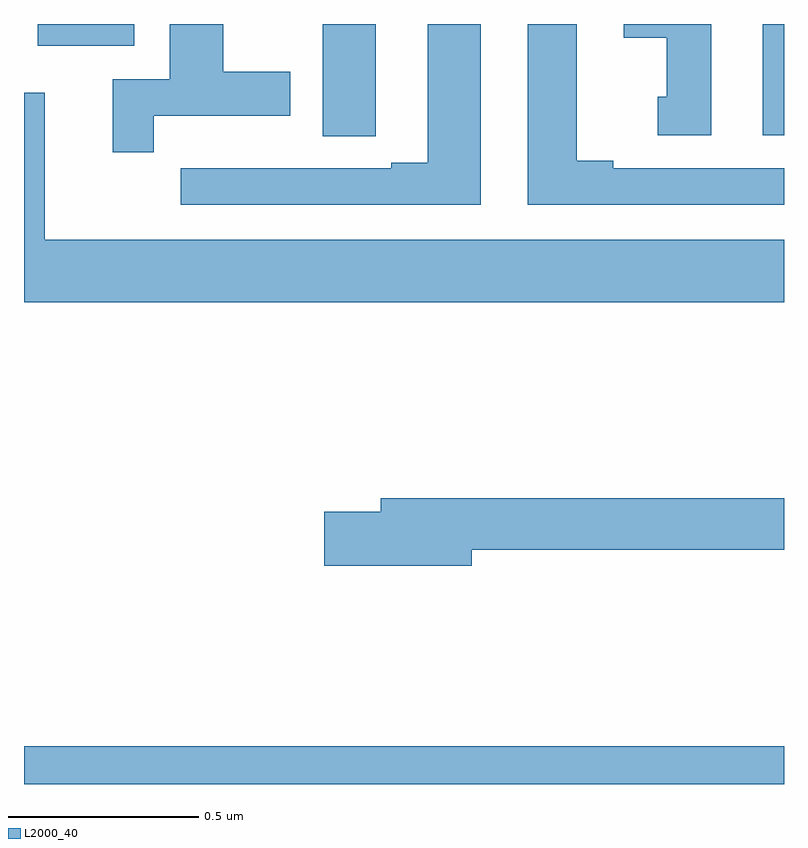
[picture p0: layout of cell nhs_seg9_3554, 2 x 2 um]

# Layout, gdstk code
import gdstk
lib = gdstk.Library(unit=1e-6, precision=1e-09)
def R(c, l, rs):  # rectangles x0, y0, x1, y1
    for r in rs: c.add(gdstk.rectangle(r[:2], r[2:], *l))
def P(c, l, *ps):  # polygons
    for p in ps: c.add(gdstk.Polygon(p, *l))
L2000_40 = (2000, 40)

nhs_seg9_3554 = lib.new_cell('nhs_seg9_3554')
R(nhs_seg9_3554, L2000_40, [(155,1180.5,157,1180.6), (156.944,1182.207,157,1182.5), (155.036,1182.443,155.29,1182.5)])
P(nhs_seg9_3554, L2000_40, [(155.925,1182.313),(155.926,1182.313),(155.926,1182.5),(155.786,1182.5),(155.786,1182.205),(155.925,1182.205)],
  [(156.808,1182.5),(156.578,1182.5),(156.578,1182.464),(156.692,1182.464),(156.692,1182.309),(156.668,1182.309),(156.668,1182.207),(156.808,1182.207)],
  [(157,1182.12),(156.55,1182.12),(156.55,1182.14),(156.454,1182.14),(156.454,1182.5),(156.326,1182.5),(156.326,1182.024),(157,1182.024)],
  [(156.202,1182.5),(156.062,1182.5),(156.062,1182.135),(155.966,1182.135),(155.966,1182.12),(155.69,1182.12),(155.69,1182.121),(155.524,1182.121),(155.524,1182.12),(155.412,1182.12),(155.412,1182.024),(156.202,1182.024)],
  [(155.342,1182.258),(155.701,1182.258),(155.701,1182.375),(155.524,1182.375),(155.524,1182.5),(155.384,1182.5),(155.384,1182.354),(155.234,1182.354),(155.234,1182.162),(155.342,1182.162)],
  [(157,1181.932),(155.054,1181.932),(155.054,1182.319),(155,1182.319),(155,1181.768),(157,1181.768)],
  [(156.178,1181.116),(157,1181.116),(157,1181.252),(155.939,1181.252),(155.939,1181.216),(155.79,1181.216),(155.79,1181.074),(156.178,1181.074)])

lib.write_gds('nhs_seg9_3554.gds')
